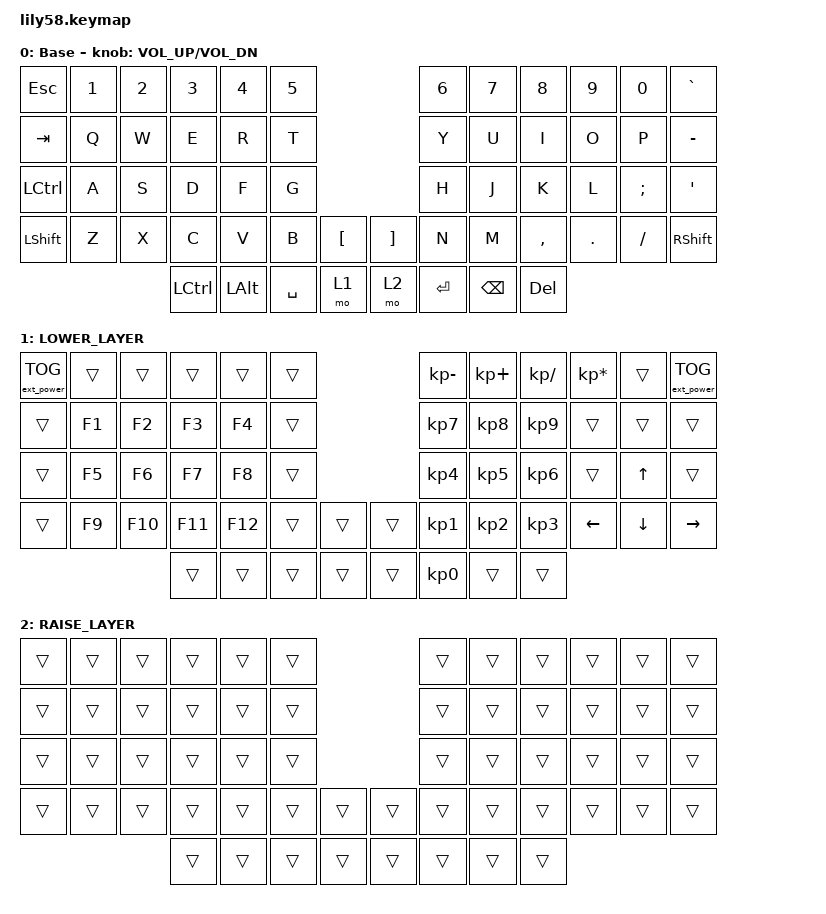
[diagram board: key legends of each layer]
/*
 * Copyright (c) 2020 The ZMK Contributors
 *
 * SPDX-License-Identifier: MIT
 */

#include <behaviors.dtsi>
#include <dt-bindings/zmk/ext_power.h>
#include <dt-bindings/zmk/keys.h>

/ {
    keymap {
        compatible = "zmk,keymap";

        default_layer {
            // ------------------------------------------------------------------------------------------------------------
            // |  ESC  |  1  |  2  |  3   |  4   |  5   |                   |  6   |  7    |  8    |  9   |   0   |   `   |
            // |  TAB  |  Q  |  W  |  E   |  R   |  T   |                   |  Y   |  U    |  I    |  O   |   P   |   -   |
            // |  CTRL |  A  |  S  |  D   |  F   |  G   |                   |  H   |  J    |  K    |  L   |   ;   |   '   |
            // | SHIFT |  Z  |  X  |  C   |  V   |  B   |   "["  |  |  "]"  |  N   |  M    |  ,    |  .   |   /   | SHIFT |
            //                     | ALT  | GUI  | LOWER|  SPACE |  | ENTER | RAISE| BSPC  | GUI   |

            display-name = "Base";
            bindings = <
&kp ESC    &kp N1  &kp N2  &kp N3     &kp N4    &kp N5                           &kp N6      &kp N7    &kp N8     &kp N9   &kp N0    &kp GRAVE
&kp TAB    &kp Q   &kp W   &kp E      &kp R     &kp T                            &kp Y       &kp U     &kp I      &kp O    &kp P     &kp MINUS
&kp LCTRL  &kp A   &kp S   &kp D      &kp F     &kp G                            &kp H       &kp J     &kp K      &kp L    &kp SEMI  &kp SQT
&kp LSHFT  &kp Z   &kp X   &kp C      &kp V     &kp B      &kp LBKT    &kp RBKT  &kp N       &kp M     &kp COMMA  &kp DOT  &kp FSLH  &kp RSHFT
                           &kp LCTRL  &kp LALT  &kp SPACE  &mo 1       &mo 2     &kp RETURN  &kp BSPC  &kp DEL
            >;

            sensor-bindings = <&inc_dec_kp C_VOL_UP C_VOL_DN>;
        };

        LOWER_LAYER {
            bindings = <
&ext_power EP_TOG  &trans  &trans   &trans   &trans   &trans                    &kp KP_SUBTRACT  &kp KP_PLUS      &kp KP_DIVIDE    &kp KP_MULTIPLY  &trans        &ext_power EP_TOG
&trans             &kp F1  &kp F2   &kp F3   &kp F4   &trans                    &kp KP_NUMBER_7  &kp KP_NUMBER_8  &kp KP_NUMBER_9  &trans           &trans        &trans
&trans             &kp F5  &kp F6   &kp F7   &kp F8   &trans                    &kp KP_NUMBER_4  &kp KP_NUMBER_5  &kp KP_NUMBER_6  &trans           &kp UP_ARROW  &trans
&trans             &kp F9  &kp F10  &kp F11  &kp F12  &trans  &trans    &trans  &kp KP_NUMBER_1  &kp KP_NUMBER_2  &kp KP_NUMBER_3  &kp LEFT         &kp DOWN      &kp RIGHT
                                    &trans   &trans   &trans  &trans    &trans  &kp KP_NUMBER_0  &trans           &trans
            >;
        };

        RAISE_LAYER {
            bindings = <
&trans  &trans  &trans  &trans  &trans  &trans                    &trans  &trans  &trans  &trans  &trans  &trans
&trans  &trans  &trans  &trans  &trans  &trans                    &trans  &trans  &trans  &trans  &trans  &trans
&trans  &trans  &trans  &trans  &trans  &trans                    &trans  &trans  &trans  &trans  &trans  &trans
&trans  &trans  &trans  &trans  &trans  &trans  &trans    &trans  &trans  &trans  &trans  &trans  &trans  &trans
                        &trans  &trans  &trans  &trans    &trans  &trans  &trans  &trans
            >;
        };
    };
};
